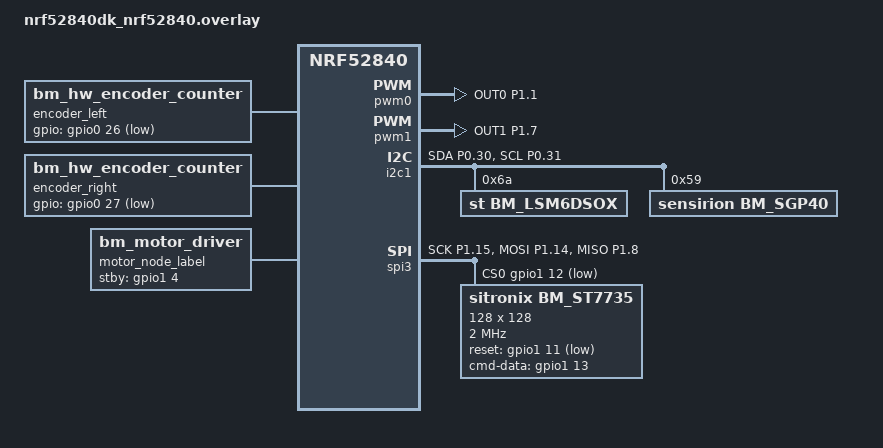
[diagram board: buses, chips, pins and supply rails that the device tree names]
/*
 * Copyright (c) 2020 Intel Corporation
 *
 * SPDX-License-Identifier: Apache-2.0
 */

 / {
	chosen {
		zephyr,entropy = &rng;
	};

	encoder_left: encoder_left {
		compatible = "bm_hw_encoder_counter";
		status = "okay";
		gpios = <&gpio0 26 GPIO_ACTIVE_LOW>;
		timer_address = < 0x40009000 >;
		timer_id = < 1 >;
	};

	encoder_right: encoder_right {
		compatible = "bm_hw_encoder_counter";
		status = "okay";
		gpios = <&gpio0 27 GPIO_ACTIVE_LOW>;
		timer_address = < 0x4000a000 >;
		timer_id = < 2 >;
	};

	motor_node_label: motor_node {
		compatible = "bm_motor_driver";
		status = "okay";
		stby-gpios = <&gpio1 4 GPIO_ACTIVE_HIGH>;

		left_wheel_label: left_wheel {
			compatible = "bm_wheel_driver";
			status = "okay";
			xi1-gpios = <&gpio1 5 GPIO_ACTIVE_HIGH>;
			xi2-gpios = <&gpio1 6 GPIO_ACTIVE_HIGH>;
			pwms = <&pwm1 1 PWM_MSEC(20) PWM_POLARITY_NORMAL>;
		};

		right_wheel_label: right_wheel {
			compatible = "bm_wheel_driver";
			status = "okay";
			xi1-gpios = <&gpio1 3 GPIO_ACTIVE_HIGH>;
			xi2-gpios = <&gpio1 2 GPIO_ACTIVE_HIGH>;
			pwms = <&pwm0 0 PWM_MSEC(20) PWM_POLARITY_NORMAL>;
		};
	};
};

&pinctrl {
	bm_i2c1_default: bm_i2c1_default {
		group1 {
			psels = <NRF_PSEL(TWIM_SDA, 0, 30)>,
				<NRF_PSEL(TWIM_SCL, 0, 31)>;
		};
	};	

	bm_i2c1_sleep: bm_i2c1_sleep {
		group1 {
			psels = <NRF_PSEL(TWIM_SDA, 0, 30)>,
				<NRF_PSEL(TWIM_SCL, 0, 31)>;
			low-power-enable;
		};
	};	
	spi3_default: spi3_default {
		group1 {
			psels = <NRF_PSEL(SPIM_SCK, 1, 15)>, 
				<NRF_PSEL(SPIM_MOSI, 1, 14)>,
				<NRF_PSEL(SPIM_MISO, 1, 8)>;
		};
	};

	spi3_sleep: spi3_sleep {
		group1 {
			psels = <NRF_PSEL(SPIM_SCK, 1, 15)>,
				<NRF_PSEL(SPIM_MOSI, 1, 14)>,
				<NRF_PSEL(SPIM_MISO, 1, 8)>;
			low-power-enable;
		};
	};

	pwm0_default_alt: pwm0_default_alt {
		group1 {
			psels = <NRF_PSEL(PWM_OUT0, 1, 1)>;
		};
	};

	pwm0_sleep_alt: pwm0_sleep_alt {
		group1 {
			psels = <NRF_PSEL(PWM_OUT0, 1, 1)>;
		};
	};

	pwm1_default_alt: pwm1_default_alt {
		group1 {
			psels = <NRF_PSEL(PWM_OUT1, 1, 7)>;
		};
	};

	pwm1_sleep_alt: pwm1_sleep_alt {
		group1 {
			psels = <NRF_PSEL(PWM_OUT1, 1, 7)>;
		};
	};
};

&gpiote {
	status = "okay";
};

&gpio0 {
	status = "okay";
};

&gpio1 {
	status = "okay";
};

&adc {
	status = "disabled";
};

&i2c0 {
	status = "disabled";
};
&spi0 {
	status = "disabled";
};
&spi1 {
	status = "disabled";
};
&spi2 {
	status = "disabled";
};
&qspi {
	status = "disabled";
};

&pwm_led0 {
	status = "disabled";
};
&arduino_header {
	status = "disabled";
};
&arduino_adc {
	status = "disabled";
};
&arduino_i2c {
	status = "disabled";
};
&arduino_serial {
	status = "disabled";
};
&arduino_spi {
	status = "disabled";
};
&ieee802154 {
	status = "disabled";
};

pwm_a: &pwm0 {
	status = "okay";
	compatible = "nordic,nrf-pwm";
	pinctrl-0 = <&pwm0_default_alt>;
	pinctrl-1 = <&pwm0_sleep_alt>;
	pinctrl-names = "default", "sleep";
};

pwm_b: &pwm1 {
	status = "okay";
	compatible = "nordic,nrf-pwm";
	pinctrl-0 = <&pwm1_default_alt>;
	pinctrl-1 = <&pwm1_sleep_alt>;
	pinctrl-names = "default", "sleep";
};

&i2c1 {
	status = "okay";
    pinctrl-0 = <&bm_i2c1_default>;
    pinctrl-1 = <&bm_i2c1_sleep>;
    pinctrl-names = "default", "sleep";
	bm_lsm6dsox: bm_lsm6dsox@6a {
		compatible = "st,bm_lsm6dsox";
		status = "okay";
		reg = <0x6a>; //i2c slave address, if SDO/SA0 (less significant bit of the device address) is connected to power supply: 0x6b, if connected to ground: 0x6a
	};
	bm_sgp40: bm_sgp40@59 {
		compatible = "sensirion,bm_sgp40";
		status = "okay";
		reg = <0x59>; //i2c slave address,
		temperature = [66 66 93];
		relative-humidity = [80 00 a2];
	};
};

&spi3 {
	status = "okay";
	compatible = "nordic,nrf-spim";
	pinctrl-0 = <&spi3_default>;
	pinctrl-1 = <&spi3_sleep>;
	pinctrl-names = "default", "sleep";
	cs-gpios = <&gpio1 12 GPIO_ACTIVE_LOW>; 
	bm_st7735:bm_st7735@0{ 
		compatible = "sitronix,bm_st7735";
		status = "okay";
		reset-gpios = <&gpio1 11 GPIO_ACTIVE_LOW>;
		cmd-data-gpios = <&gpio1 13 GPIO_ACTIVE_HIGH>; 
		spi-max-frequency = <2000000>; 
		reg = <0>; 
		duplex = <0>; // Set duplex. Does not support half-duplex.
		width = <128>; 
		height = <128>; 
		x-offset = < 0 >;
		y-offset = < 0 >;
		madctl = <0x08>; // Specify RGB and not BGR setting. 
		colmod = <0x06>; // Set pixel format 18bit. 
		vmctr1 = <0x04>;
		pwctr1 = [82 02 84];
		pwctr2 = [c5];
		pwctr3 = [0a 00];
		pwctr4 = [8a 2e];
		pwctr5 = [8a aa];
		frmctr1 = [01 2c 2d];
		frmctr2 = [01 2c 2d];
		frmctr3 = [01 2c 2d 01 2c 2d];
		caset = [00 00 00 80];
		raset = [00 00 00 80];
		gmctrp1 = [02 1c 07 12 37 32 29 2d 29 25 2b 39 00 01 03 10]; // Copied from example, found no default.
		gmctrn1 = [03 1d 07 06 2e 2c 29 2d 2e 2e 37 3f 00 00 02 10]; // Copied from example. 
	};
};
